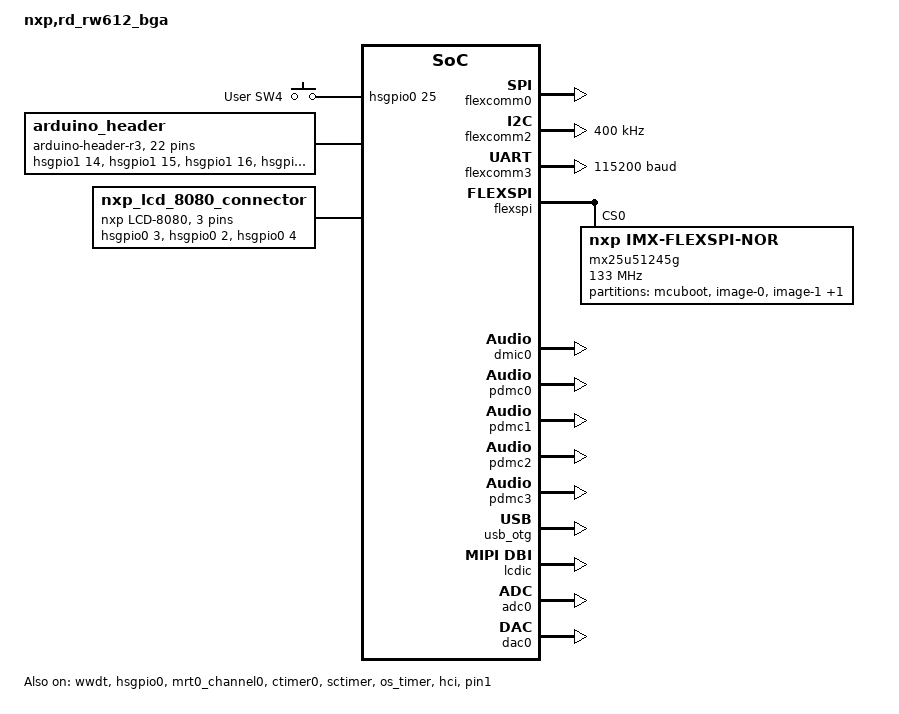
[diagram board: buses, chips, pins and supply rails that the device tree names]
/*
 * Copyright 2022-2024 NXP
 *
 * SPDX-License-Identifier: Apache-2.0
 */

#include <nxp/nxp_rw6xx.dtsi>
#include "rd_rw612_bga-pinctrl.dtsi"
#include <zephyr/dt-bindings/input/input-event-codes.h>

/ {
	model = "nxp,rd_rw612_bga";
	compatible = "nxp,rd_rw612_bga";

	aliases {
		usart-0 = &flexcomm3;
		sw0 = &sw_4;
		i2c-0 = &flexcomm2;
		watchdog0 = &wwdt;
		dmic-dev = &dmic0;
		mcuboot-button0 = &sw_4;
		pwm-0 = &sctimer;
	};

	chosen {
		zephyr,sram = &sram_data;
		zephyr,flash = &mx25u51245g;
		zephyr,code-partition = &slot0_partition;
		zephyr,uart-mcumgr = &flexcomm3;
		zephyr,flash-controller = &mx25u51245g;
		zephyr,console = &flexcomm3;
		zephyr,shell-uart = &flexcomm3;
	};

	gpio_keys {
		compatible = "gpio-keys";
		sw_4: sw_4 {
			label = "User SW4";
			gpios = <&hsgpio0 25 0>;
			zephyr,code = <INPUT_KEY_0>;
		};
	};

	arduino_header: arduino-connector {
		compatible = "arduino-header-r3";
		#gpio-cells = <2>;
		gpio-map-mask = <0xffffffff 0xffffffc0>;
		gpio-map-pass-thru = <0 0x3f>;
		gpio-map =	<0 0 &hsgpio1 14 0>,	/* A0 */
				<1 0 &hsgpio1 15 0>,	/* A1 */
				<2 0 &hsgpio1 16 0>,	/* A2 */
				<3 0 &hsgpio1 17 0>,	/* A3 */
				<4 0 &hsgpio0 16 0>,	/* A4 */
				<5 0 &hsgpio0 17 0>,	/* A5 */
				<6 0 &hsgpio0 24 0>,	/* D0 */
				<7 0 &hsgpio0 26 0>,	/* D1 */
				<8 0 &hsgpio0 11 0>,	/* D2 */
				<9 0 &hsgpio0 15 0>,	/* D3 */
				<10 0 &hsgpio0 18 0>,	/* D4 */
				<11 0 &hsgpio0 27 0>,	/* D5 */
				<12 0 &hsgpio0 6 0>,	/* D6 */
				<13 0 &hsgpio0 10 0>,	/* D7 */
				<14 0 &hsgpio1 18 0>,	/* D8 */
				<15 0 &hsgpio1 13 0>,	/* D9 */
				<16 0 &hsgpio0 0 0>,	/* D10 */
				<17 0 &hsgpio0 2 0>,	/* D11 */
				<18 0 &hsgpio0 3 0>,	/* D12 */
				<19 0 &hsgpio0 4 0>,	/* D13 */
				<20 0 &hsgpio0 16 0>,	/* D14 */
				<21 0 &hsgpio0 17 0>;	/* D15 */
	};


	/*
	 * The pins for this interface are chosen arbitrarily- the RD-RW612
	 * board does not have the NXP 8080 interface, but can support displays
	 * using it by connecting signals directly with jumper wires.
	 */
	nxp_lcd_8080_connector: lcd-8080-connector {
		compatible = "nxp,lcd-8080";
		#gpio-cells = <2>;
		gpio-map-mask = <0xffffffff 0xffffffc0>;
		gpio-map-pass-thru = <0 0x3f>;
		gpio-map =	<9  0 &hsgpio0 3 0>,	/* Pin 9, LCD touch INT */
				<10  0 &hsgpio0 2 0>,	/* Pin 10, LCD backlight control */
				<11  0 &hsgpio0 4 0>;	/* Pin 11, LCD and touch reset */
	};
};

&wwdt {
	status = "okay";
};

arduino_spi: &flexcomm0 {
	compatible = "nxp,lpc-spi";
	pinctrl-0 = <&pinmux_flexcomm0_spi>;
	pinctrl-names = "default";
	status = "okay";
	#address-cells = <1>;
	#size-cells = <0>;
};

arduino_i2c: &flexcomm2 {
	compatible = "nxp,lpc-i2c";
	status = "okay";
	clock-frequency = <I2C_BITRATE_FAST>;
	#address-cells = <1>;
	#size-cells = <0>;
	pinctrl-0 = <&pinmux_flexcomm2_i2c>;
	pinctrl-names = "default";
};

&flexcomm3 {
	compatible = "nxp,lpc-usart";
	status = "okay";
	current-speed = <115200>;
	pinctrl-0 = <&pinmux_flexcomm3_usart>;
	pinctrl-names = "default";
};

&hsgpio0 {
	status = "okay";
};

&flexspi {
	status = "okay";
	ahb-bufferable;
	ahb-prefetch;
	ahb-cacheable;
	ahb-read-addr-opt;
	rx-clock-source = <1>;
	rx-clock-source-b = <3>;
	pinctrl-0 = <&pinmux_flexspi>;
	pinctrl-names = "default";
	status = "okay";
	mx25u51245g: mx25u51245g@0 {
		compatible = "nxp,imx-flexspi-nor";
		spi-max-frequency = <133000000>;
		reg = <0>;
		/* MX25UM51245G is 64MB, 512MBit flash part */
		size = <DT_SIZE_M(64 * 8)>;
		status = "okay";
		jedec-id = [c2 25 3a];
		erase-block-size = <4096>;
		write-block-size = <1>;

		partitions {
			compatible = "fixed-partitions";
			#address-cells = <1>;
			#size-cells = <1>;

			boot_partition: partition@0 {
				label = "mcuboot";
				reg = <0x00000000 DT_SIZE_K(128)>;
			};
			/* The MCUBoot swap-move algorithm uses the last 2 sectors
			 * of the primary slot0 for swap status and move.
			 */
			slot0_partition: partition@20000 {
				label = "image-0";
				reg = <0x00020000 (DT_SIZE_M(3) + DT_SIZE_K(2 * 4))>;
			};
			slot1_partition: partition@323000 {
				label = "image-1";
				reg = <0x00323000 DT_SIZE_M(3)>;
			};
			storage_partition: partition@623000 {
				label = "storage";
				reg = <0x00623000 (DT_SIZE_M(58) - DT_SIZE_K(136))>;
			};
		};
	};
	is66wvq8m4: is66wvq8m4@2 {
		compatible = "nxp,imx-flexspi-is66wvq8m4";
		/* IS66WVQ8M4 is 4MB, 32MBit pSRAM */
		size = <DT_SIZE_M(32)>;
		reg = <2>;
		spi-max-frequency = <256000000>;
		/* PSRAM cannot be enabled while board is in default XIP
		 * configuration, as it will conflict with flash chip.
		 */
		status = "disabled";
		cs-interval-unit = <1>;
		cs-interval = <5>;
		cs-hold-time = <2>;
		cs-setup-time = <3>;
		data-valid-time = <1>;
		column-space = <14>;
		ahb-write-wait-unit = <2>;
		ahb-write-wait-interval = <0>;
	};
};

&dmic0 {
	pinctrl-0 = <&pinmux_dmic0>;
	pinctrl-names = "default";
	use2fs;
	status = "okay";
};

/* Configure pdm channels 0-3 with gain, and cutoff settings
 * appropriate for the attached MEMS microphones.
 * Note that PDMC0/PDMC1 and PDMC2/PDMC3 are each connected to the same
 * microphone. For best results, read from PDM HW channel 0 as left channel,
 * and PDM HW channel 1 as right channel.
 */
&pdmc0 {
	status = "okay";
	gainshift = <3>;
	dc-cutoff = "155hz";
	dc-gain = <1>;
};

&pdmc1 {
	status = "okay";
	gainshift = <3>;
	dc-cutoff = "155hz";
	dc-gain = <1>;
};

&pdmc2 {
	status = "okay";
	gainshift = <3>;
	dc-cutoff = "155hz";
	dc-gain = <1>;
};

&pdmc3 {
	status = "okay";
	gainshift = <3>;
	dc-cutoff = "155hz";
	dc-gain = <1>;
};

zephyr_udc0: &usb_otg {
	status = "okay";
};

&dma0 {
	status = "okay";
};

zephyr_mipi_dbi_parallel: &lcdic {
	status = "okay";
	pinctrl-0 = <&pinmux_lcdic>;
	pinctrl-names = "default";
};

/*
 * Similar to the flexio connection, these pins are not
 * broken out in the format required to connect directly to
 * an NXP 8080 display, but they can be connected with jumper
 * wires.
 */
nxp_8080_touch_panel_i2c: &arduino_i2c {
	status = "okay";
};

&mrt0_channel0 {
	status = "okay";
};

&ctimer0 {
	status = "okay";
};

&sctimer {
	status = "okay";
	pinctrl-0 = <&pinmux_pwm0>;
	pinctrl-names = "default";
};

&pmu {
	reset-causes-en = <PMU_RESET_CM33_LOCKUP>,
			  <PMU_RESET_ITRC>,
			  <PMU_RESET_AP_RESET>;
};

&adc0 {
	status = "okay";
};

&dac0 {
	status = "okay";
};

/* OS Timer is the wakeup source for PM mode 2 */
&os_timer {
	status = "okay";
	wakeup-source;
};

&systick {
	status = "disabled";
};

&hci {
	status = "okay";
	wakeup-source;
};

&pin1 {
	status = "okay";
	wakeup-level = "low";
};
